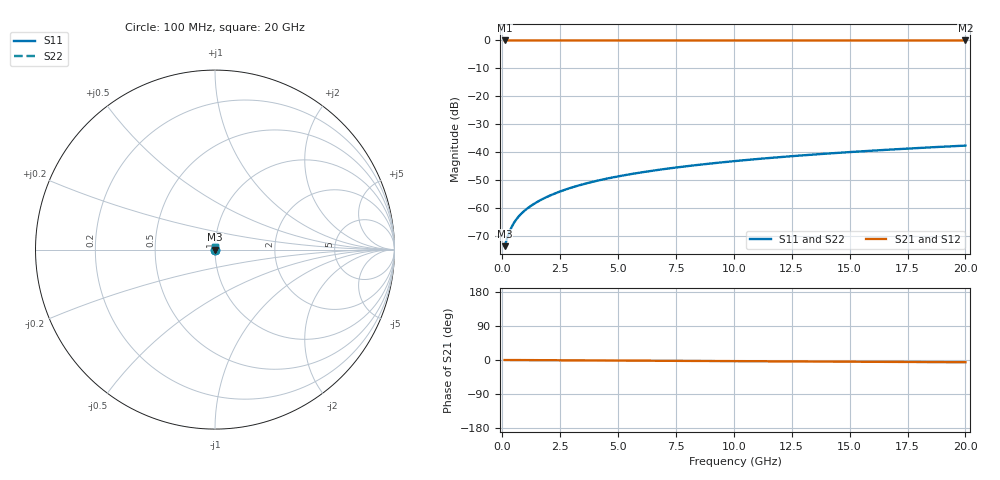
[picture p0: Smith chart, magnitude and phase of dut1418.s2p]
! Touchstone file exported from HFSS 2026.1.0
!  File:  C:/ffzhzh/LocalFiles/Ansys_Project_Files/temp_train_TSV_1418_1783197232_22436.aedt
!  Generated:  04:35:15 AM Jul  5, 2026
!  Design:  TSV
!  Project:  temp_train_TSV_1418_1783197232_22436
! Variables:
!  h_bsmrdl = 2um
!  h_ox = 20um
!  h_rdl = 5um
!  h_sub = 57.75um
!  h_tmrdl = 5um
!  h_tsv = 57.75um
!  h_via = 3um
!  l_bsmrdl = 300um
!  l_sub = 413.88um
!  l_tmrdl = 200um
!  m_sub = 200um
!  pitch = 32.43um
!  r_tsv = 6.94um
!  s_tmrdl = 10um
!  w_bsmrdl = 18um
!  w_sub = 500um
!  w_tmrdl = 12um
!  x_tsv_center1 = 206um
!  x_tsv_center2 = 524um
!  x_tsv_center3 = 736um
!  x_tsv_center4 = 1054um
!  x_tsv_center5 = 1266um
!  x_tsv_center6 = 1584um
# GHz S MA R 50.000000
! Terminal data exported
! Port[1] = TSV1_1_T1
! Port[2] = TSV1_1_T2
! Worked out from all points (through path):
!   200 points, 100 MHz to 20 GHz, reference 50 ohm
!   highest |S21| = 0.00 dB at 100 MHz (marker M1); lowest = 0.0 dB at 20 GHz (marker M2)
!   lowest |S11| = -73.8 dB at 100 MHz (marker M3), VSWR 1.00, Z = 50 + j0.0103 ohm
!   |S11| at or under -10 dB: start of sweep to end of sweep
!   |S22| runs from -73.8 to -37.7 dB; largest |S21 - S12| = 4.2e-15
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0.1  0.0002037 30.3  0.9998 -0.0  0.9998 -0.0  0.0002037 30.3
! Gamma 0 0 0 0
! Port Impedance 50 0 50 0
0.2  0.0002757 47.3  0.9998 -0.1  0.9998 -0.1  0.0002757 47.3
0.3  0.0003606 55.7  0.9998 -0.1  0.9998 -0.1  0.0003606 55.7
0.4  0.000447 60.2  0.9998 -0.1  0.9998 -0.1  0.000447 60.2
0.5  0.0005311 62.8  0.9998 -0.2  0.9998 -0.2  0.0005311 62.8
0.6  0.000612 64.6  0.9997 -0.2  0.9997 -0.2  0.000612 64.6
0.7  0.0006898 65.9  0.9997 -0.2  0.9997 -0.2  0.0006898 65.9
0.8  0.0007651 67.0  0.9997 -0.2  0.9997 -0.2  0.0007651 67.0
1  0.0009106 68.8  0.9997 -0.3  0.9997 -0.3  0.0009106 68.8
1.4  0.001192 71.5  0.9996 -0.4  0.9996 -0.4  0.001192 71.5
1.7  0.001401 73.0  0.9996 -0.5  0.9996 -0.5  0.001401 73.0
2  0.001609 74.2  0.9996 -0.6  0.9996 -0.6  0.001609 74.2
2.7  0.002093 76.0  0.9995 -0.8  0.9995 -0.8  0.002093 76.0
3.5  0.002639 77.2  0.9995 -1.1  0.9995 -1.1  0.002639 77.2
4.2  0.00311 77.8  0.9994 -1.3  0.9994 -1.3  0.00311 77.8
5  0.003639 78.2  0.9993 -1.5  0.9993 -1.5  0.003639 78.2
6.8  0.004803 78.8  0.9992 -2.0  0.9992 -2.0  0.004803 78.8
8.3  0.005756 79.1  0.9991 -2.5  0.9991 -2.5  0.005756 79.1
10.1  0.006889 79.3  0.999 -3.0  0.999 -3.0  0.006889 79.3
13.4  0.008947 79.2  0.9989 -4.0  0.9989 -4.0  0.008947 79.2
16.7  0.01098 78.9  0.9988 -4.9  0.9988 -4.9  0.01098 78.9
20  0.01299 78.3  0.9986 -5.9  0.9986 -5.9  0.01299 78.3
